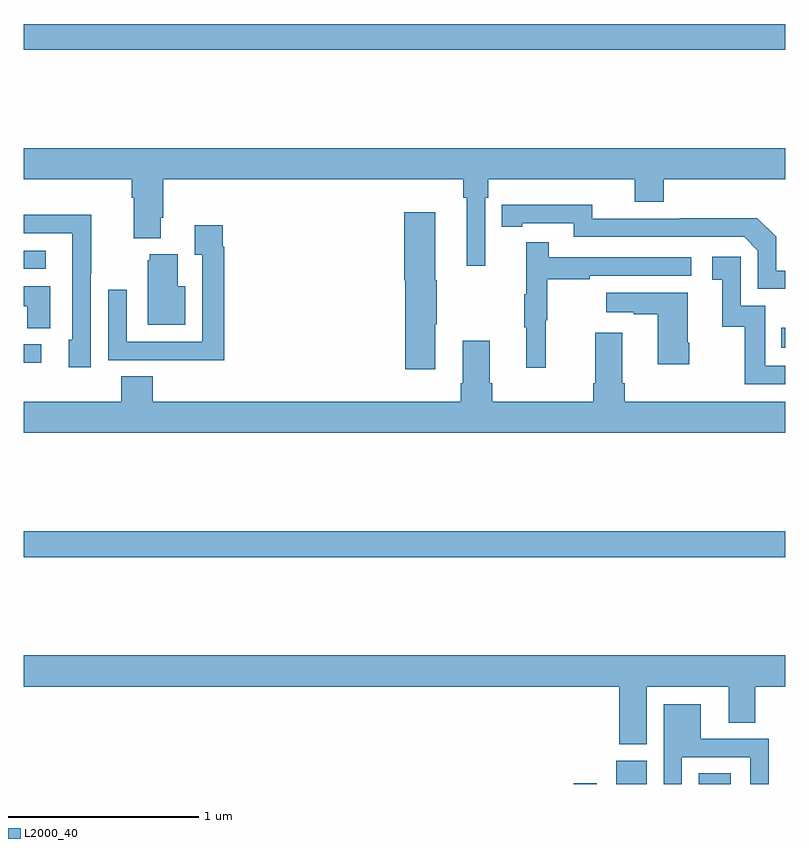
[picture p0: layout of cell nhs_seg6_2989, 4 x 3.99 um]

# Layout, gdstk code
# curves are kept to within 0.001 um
import gdstk
lib = gdstk.Library(unit=1e-6, precision=1e-09)
def R(c, l, rs):  # rectangles x0, y0, x1, y1
    for r in rs: c.add(gdstk.rectangle(r[:2], r[2:], *l))
def P(c, l, *ps):  # polygons
    for p in ps: c.add(gdstk.Polygon(p, *l))
L2000_40 = (2000, 40)

nhs_seg6_2989 = lib.new_cell('nhs_seg6_2989')
R(nhs_seg6_2989, L2000_40, [(289.89,937.5,290.009,937.504), (290.111,937.5,290.272,937.623), (290.546,937.5,290.713,937.556), (287,938.692,291,938.828), (287,939.713,287.092,939.81), (290.98,939.792,291,939.897), (287,940.206,287.116,940.302), (287,941.356,291,941.492)])
P(nhs_seg6_2989, L2000_40, [(289.425,940.58),(289.439,940.58),(289.439,940.676),(290.21,940.676),(290.21,940.559),(290.363,940.559),(290.363,940.676),(291,940.676),(291,940.84),(287,940.84),(287,940.676),(287.567,940.676),(287.567,940.58),(287.579,940.58),(287.579,940.367),(287.719,940.367),(287.719,940.474),(287.732,940.474),(287.732,940.676),(289.309,940.676),(289.309,940.58),(289.328,940.58),(289.328,940.221),(289.425,940.221)],
  [(291,940.197),(290.952,940.197),(290.952,940.374),(290.854,940.472),(290.446,940.472),(290.446,940.47),(289.986,940.47),(289.986,940.543),(289.51,940.542),(289.51,940.426),(289.618,940.426),(289.618,940.446),(289.89,940.446),(289.89,940.374),(290.784,940.374),(290.856,940.302),(290.856,940.101),(291,940.101)],
  [(289.162,939.916),(289.17,939.916),(289.17,940.146),(289.162,940.146),(289.162,940.504),(288.998,940.504),(288.998,940.146),(289.004,940.146),(289.004,939.678),(289.162,939.678)],
  [(287.352,940.183),(287.355,940.183),(287.355,940.49),(287,940.49),(287,940.392),(287.256,940.392),(287.256,939.834),(287.237,939.834),(287.237,939.69),(287.352,939.69)],
  [(288.053,940.322),(288.046,940.322),(288.046,940.435),(287.897,940.435),(287.897,940.279),(287.937,940.279),(287.937,939.822),(287.541,939.822),(287.541,940.096),(287.445,940.096),(287.445,939.726),(287.761,939.726),(287.761,939.725),(288.053,939.725)],
  [(289.742,939.936),(289.75,939.936),(289.75,940.15),(289.973,940.15),(289.973,940.17),(290.506,940.17),(290.506,940.266),(289.757,940.266),(289.757,940.345),(289.64,940.345),(289.64,940.073),(289.629,940.073),(289.629,939.899),(289.64,939.899),(289.64,939.687),(289.742,939.687)],
  [(287.848,940.114),(287.809,940.114),(287.809,940.282),(287.663,940.282),(287.663,940.251),(287.651,940.251),(287.651,939.911),(287.848,939.911)],
  [(291,939.696),(290.895,939.696),(290.895,940.011),(290.766,940.011),(290.766,940.27),(290.616,940.27),(290.616,940.149),(290.669,940.149),(290.669,939.903),(290.787,939.903),(290.787,939.6),(291,939.6)],
  [(287.14,940.114),(287,940.114),(287,940.01),(287.019,940.01),(287.019,939.895),(287.14,939.895)],
  [(290.496,939.817),(290.488,939.817),(290.488,940.081),(290.061,940.081),(290.061,939.977),(290.204,939.977),(290.204,939.967),(290.33,939.967),(290.33,939.705),(290.496,939.705)],
  [(291,939.508),(290.156,939.508),(290.156,939.604),(290.143,939.604),(290.143,939.871),(290.003,939.871),(290.003,939.604),(289.991,939.604),(289.991,939.508),(289.46,939.508),(289.46,939.604),(289.447,939.604),(289.447,939.829),(289.307,939.829),(289.307,939.604),(289.295,939.604),(289.295,939.508),(287.678,939.508),(287.678,939.641),(287.513,939.641),(287.513,939.508),(287,939.508),(287,939.344),(291,939.344)],
  [(290.272,938.012),(290.702,938.012),(290.702,937.822),(290.842,937.822),(290.842,938.012),(291,938.012),(291,938.176),(287,938.176),(287,938.012),(290.129,938.012),(290.129,937.708),(290.272,937.708)],
  [(290.457,937.641),(290.817,937.641),(290.817,937.5),(290.913,937.5),(290.913,937.737),(290.557,937.737),(290.557,937.918),(290.361,937.918),(290.361,937.5),(290.457,937.5)])

lib.write_gds('nhs_seg6_2989.gds')
